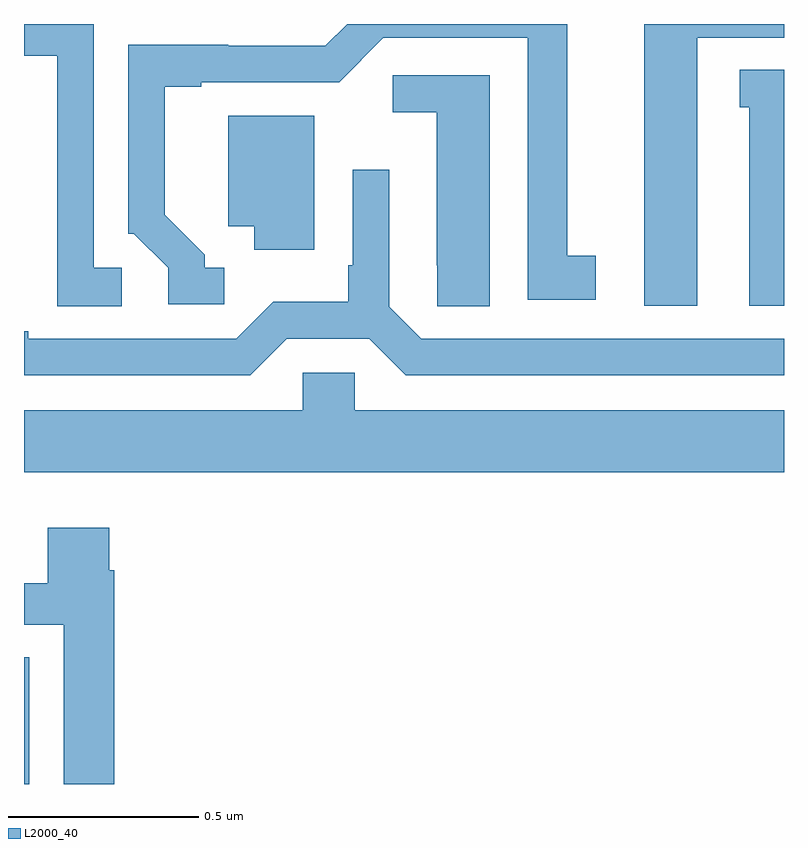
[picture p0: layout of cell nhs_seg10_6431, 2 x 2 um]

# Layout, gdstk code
import gdstk
lib = gdstk.Library(unit=1e-6, precision=1e-09)
def R(c, l, rs):  # rectangles x0, y0, x1, y1
    for r in rs: c.add(gdstk.rectangle(r[:2], r[2:], *l))
def P(c, l, *ps):  # polygons
    for p in ps: c.add(gdstk.Polygon(p, *l))
L2000_40 = (2000, 40)

nhs_seg10_6431 = lib.new_cell('nhs_seg10_6431')
R(nhs_seg10_6431, L2000_40, [(191,1295.5,191.014,1295.834)])
P(nhs_seg10_6431, L2000_40, [(191.527,1296.858),(191.476,1296.858),(191.476,1296.893),(191.371,1296.998),(191.371,1297.335),(191.467,1297.335),(191.467,1297.347),(191.829,1297.347),(191.946,1297.464),(192.326,1297.464),(192.326,1296.774),(192.505,1296.774),(192.505,1296.89),(192.43,1296.89),(192.43,1297.5),(191.85,1297.5),(191.793,1297.443),(191.537,1297.443),(191.537,1297.445),(191.274,1297.445),(191.274,1296.948),(191.289,1296.948),(191.379,1296.858),(191.379,1296.762),(191.527,1296.762)],
  [(192.772,1297.464),(193,1297.464),(193,1297.5),(192.632,1297.5),(192.632,1296.759),(192.772,1296.759)],
  [(191.257,1296.858),(191.184,1296.858),(191.184,1297.5),(191,1297.5),(191,1297.417),(191.087,1297.417),(191.087,1296.757),(191.257,1296.757)],
  [(193,1297.379),(192.884,1297.379),(192.884,1297.281),(192.908,1297.281),(192.908,1296.759),(193,1296.759)],
  [(192.226,1297.365),(191.97,1297.365),(191.97,1297.268),(192.086,1297.268),(192.086,1296.865),(192.087,1296.865),(192.087,1296.757),(192.226,1296.757)],
  [(191.764,1297.258),(191.537,1297.258),(191.537,1296.968),(191.606,1296.968),(191.606,1296.906),(191.764,1296.906)],
  [(191.691,1296.672),(191.909,1296.672),(192.005,1296.576),(193,1296.576),(193,1296.672),(192.045,1296.672),(191.961,1296.756),(191.961,1297.117),(191.865,1297.117),(191.865,1296.865),(191.853,1296.865),(191.853,1296.769),(191.656,1296.769),(191.559,1296.672),(191.011,1296.672),(191.011,1296.692),(191,1296.692),(191,1296.576),(191.595,1296.576)],
  [(193,1296.484),(191.871,1296.484),(191.871,1296.582),(191.733,1296.582),(191.733,1296.484),(191,1296.484),(191,1296.32),(193,1296.32)],
  [(191.237,1296.062),(191.224,1296.062),(191.224,1296.175),(191.063,1296.175),(191.063,1296.028),(191,1296.028),(191,1295.919),(191.105,1295.919),(191.105,1295.5),(191.237,1295.5)])

lib.write_gds('nhs_seg10_6431.gds')
